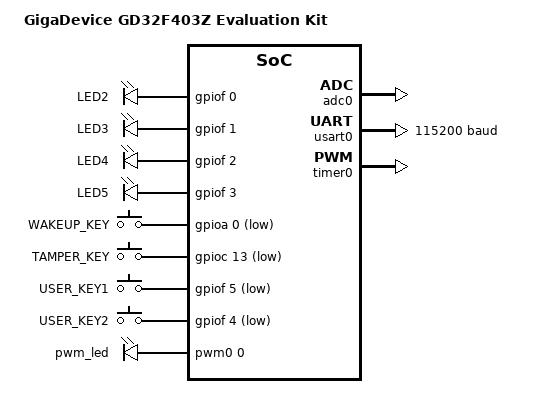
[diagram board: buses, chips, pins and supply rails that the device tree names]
/*
 * Copyright (c) 2021, ATL Electronics
 * SPDX-License-Identifier: Apache-2.0
 */

/dts-v1/;

#include <gigadevice/gd32f403/gd32f403zet6.dtsi>
#include "gd32f403z_eval-pinctrl.dtsi"

/ {
	model = "GigaDevice GD32F403Z Evaluation Kit";
	compatible = "gd,gd32f403z";

	chosen {
		zephyr,sram = &sram0;
		zephyr,flash = &flash0;
		zephyr,console = &usart0;
		zephyr,shell-uart = &usart0;
	};

	leds {
		compatible = "gpio-leds";
		led2: led2 {
			gpios = <&gpiof 0 GPIO_ACTIVE_HIGH>;
			label = "LED2";
		};
		led3: led3 {
			gpios = <&gpiof 1 GPIO_ACTIVE_HIGH>;
			label = "LED3";
		};
		led4: led4 {
			gpios = <&gpiof 2 GPIO_ACTIVE_HIGH>;
			label = "LED4";
		};
		led5: led5 {
			gpios = <&gpiof 3 GPIO_ACTIVE_HIGH>;
			label = "LED5";
		};
	};

	gpio_keys {
		compatible = "gpio-keys";
		wakeup_key: wakeup_key {
			label = "WAKEUP_KEY";
			gpios = <&gpioa 0 GPIO_ACTIVE_LOW>;
		};
		tamper_key: tamper_key {
			label = "TAMPER_KEY";
			gpios = <&gpioc 13 GPIO_ACTIVE_LOW>;
		};
		user_key1: user_key1 {
			label = "USER_KEY1";
			gpios = <&gpiof 5 GPIO_ACTIVE_LOW>;
		};
		user_key2: user_key2 {
			label = "USER_KEY2";
			gpios = <&gpiof 4 GPIO_ACTIVE_LOW>;
		};
	};

	pwmleds {
		compatible = "pwm-leds";

		/* NOTE: bridge TIMER0_CH0 (PA8) and LED2 (PF0) */
		pwm_led: pwm_led {
			pwms = <&pwm0 0 PWM_MSEC(20) PWM_POLARITY_NORMAL>;
		};
	};

	aliases {
		led0 = &led2;
		led1 = &led3;
		sw0 = &user_key1;
		pwm-led0 = &pwm_led;
	};
};

&gpioa {
	status = "okay";
};

&gpioc {
	status = "okay";
};

&gpiof {
	status = "okay";
};

&adc0 {
	status = "okay";
	pinctrl-0 = <&adc0_default>;
	pinctrl-names = "default";
};

&usart0 {
	status = "okay";
	current-speed = <115200>;
	pinctrl-0 = <&usart0_default>;
	pinctrl-names = "default";
};

&timer0 {
	status = "okay";
	prescaler = <256>;

	pwm0: pwm {
		status = "okay";
		pinctrl-0 = <&pwm0_default>;
		pinctrl-names = "default";
	};
};
